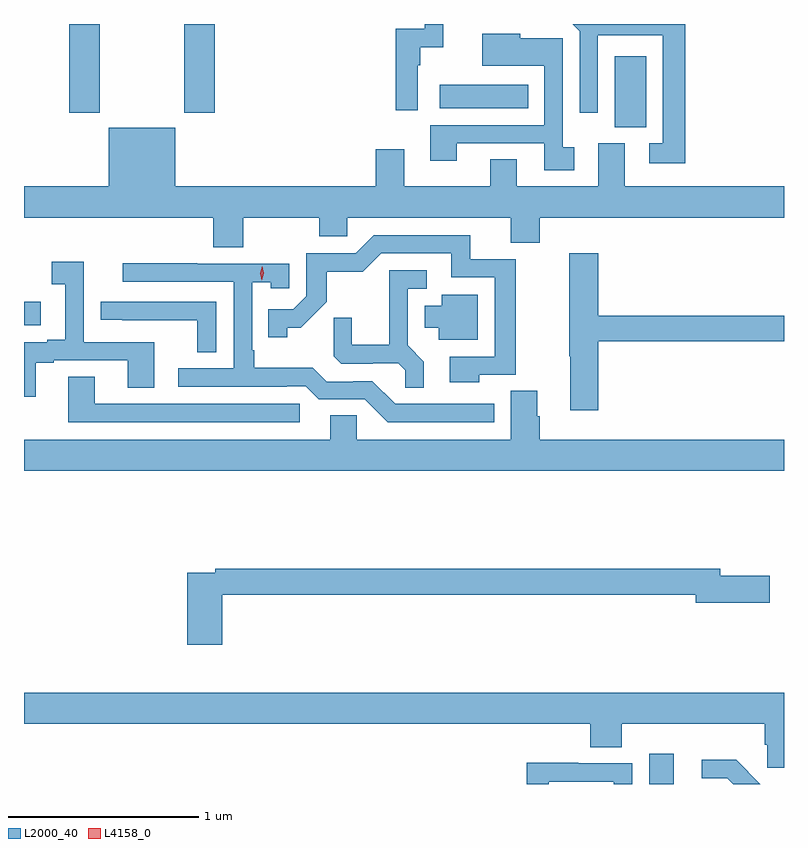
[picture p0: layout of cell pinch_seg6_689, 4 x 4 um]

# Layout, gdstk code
import gdstk
lib = gdstk.Library(unit=1e-6, precision=1e-09)
def R(c, l, rs):  # rectangles x0, y0, x1, y1
    for r in rs: c.add(gdstk.rectangle(r[:2], r[2:], *l))
def P(c, l, *ps):  # polygons
    for p in ps: c.add(gdstk.Polygon(p, *l))
L2000_40 = (2000, 40)
L4158_0 = (4158, 0)

pinch_seg6_689 = lib.new_cell('pinch_seg6_689')
R(pinch_seg6_689, L2000_40, [(437.049,941.691,437.179,941.851), (433.758,944.105,433.846,944.229), (436.868,945.148,437.032,945.52), (433.997,945.225,434.157,945.691), (434.602,945.225,434.762,945.691), (435.945,945.248,436.412,945.37)])
P(pinch_seg6_689, L2000_40, [(435.831,945.473),(435.844,945.473),(435.844,945.569),(435.965,945.569),(435.965,945.691),(435.867,945.691),(435.867,945.666),(435.715,945.666),(435.715,945.237),(435.831,945.237)],
  [(437.237,945.691),(436.646,945.691),(436.683,945.654),(436.683,945.225),(436.779,945.225),(436.779,945.633),(437.121,945.633),(437.121,945.063),(437.049,945.063),(437.049,944.958),(437.237,944.958)],
  [(436.654,945.042),(436.593,945.042),(436.593,945.615),(436.371,945.615),(436.371,945.64),(436.169,945.64),(436.169,945.47),(436.497,945.47),(436.497,945.159),(435.896,945.159),(435.896,944.97),(436.036,944.97),(436.036,945.063),(436.496,945.063),(436.496,944.922),(436.654,944.922)],
  [(434.913,944.672),(435.313,944.672),(435.313,944.574),(435.459,944.574),(435.459,944.672),(436.319,944.672),(436.319,944.539),(436.472,944.539),(436.472,944.672),(437.758,944.672),(437.758,944.836),(436.921,944.836),(436.921,945.063),(436.781,945.063),(436.781,944.836),(436.351,944.836),(436.351,944.978),(436.211,944.978),(436.211,944.836),(435.76,944.836),(435.76,945.031),(435.608,945.031),(435.608,944.836),(434.554,944.836),(434.554,945.145),(434.204,945.145),(434.204,944.836),(433.758,944.836),(433.758,944.672),(434.753,944.672),(434.753,944.515),(434.913,944.515)],
  [(436.155,943.845),(436.345,943.845),(436.345,944.454),(436.106,944.454),(436.106,944.58),(435.6,944.58),(435.504,944.484),(435.243,944.484),(435.243,944.259),(435.174,944.19),(435.043,944.19),(435.043,944.043),(435.144,944.043),(435.144,944.093),(435.214,944.093),(435.352,944.23),(435.352,944.386),(435.541,944.386),(435.639,944.484),(436.007,944.484),(436.007,944.358),(436.236,944.358),(436.236,943.941),(435.999,943.941),(435.999,943.805),(436.155,943.805)],
  [(436.781,944.02),(437.758,944.02),(437.758,944.156),(436.781,944.156),(436.781,944.485),(436.627,944.485),(436.627,943.943),(436.634,943.943),(436.634,943.659),(436.781,943.659)],
  [(433.819,943.908),(433.915,943.908),(433.915,943.92),(434.303,943.92),(434.303,943.777),(434.443,943.777),(434.443,944.016),(434.073,944.016),(434.073,944.44),(433.905,944.44),(433.905,944.32),(433.976,944.32),(433.976,944.029),(433.88,944.029),(433.88,944.016),(433.758,944.016),(433.758,943.728),(433.819,943.728)],
  [(436.234,943.692),(435.711,943.692),(435.591,943.812),(435.49,943.812),(435.49,943.809),(435.351,943.809),(435.278,943.882),(434.971,943.882),(434.971,943.975),(434.958,943.975),(434.958,944.333),(435.057,944.333),(435.057,944.301),(435.153,944.301),(435.153,944.43),(434.669,944.43),(434.669,944.433),(434.277,944.433),(434.277,944.334),(434.862,944.334),(434.862,943.878),(434.571,943.878),(434.571,943.782),(435.14,943.782),(435.14,943.785),(435.24,943.785),(435.309,943.716),(435.552,943.716),(435.672,943.596),(436.234,943.596)],
  [(435.863,943.913),(435.777,943.999),(435.777,944.298),(435.877,944.298),(435.877,944.394),(435.68,944.394),(435.68,944.002),(435.482,944.002),(435.482,944.145),(435.388,944.145),(435.388,943.943),(435.429,943.902),(435.594,943.902),(435.594,943.905),(435.728,943.905),(435.765,943.868),(435.765,943.777),(435.863,943.777)],
  [(436.147,944.266),(435.956,944.266),(435.956,944.209),(435.866,944.209),(435.866,944.093),(435.941,944.093),(435.941,944.03),(436.147,944.03)],
  [(434.769,944.229),(434.163,944.229),(434.163,944.134),(434.275,944.134),(434.275,944.133),(434.671,944.133),(434.671,943.963),(434.769,943.963)],
  [(435.208,943.692),(434.131,943.692),(434.131,943.835),(433.991,943.835),(433.991,943.596),(435.208,943.596)],
  [(437.758,943.504),(436.472,943.504),(436.472,943.626),(436.459,943.626),(436.459,943.76),(436.319,943.76),(436.319,943.504),(435.51,943.504),(435.51,943.631),(435.371,943.631),(435.371,943.504),(433.758,943.504),(433.758,943.34),(437.758,943.34)],
  [(434.801,942.688),(437.294,942.688),(437.294,942.646),(437.683,942.646),(437.683,942.788),(437.422,942.788),(437.422,942.824),(434.764,942.824),(434.764,942.804),(434.618,942.804),(434.618,942.423),(434.801,942.423)],
  [(437.758,942.172),(433.758,942.172),(433.758,942.008),(436.739,942.008),(436.739,941.884),(436.904,941.884),(436.904,942.008),(437.657,942.008),(437.657,941.898),(437.671,941.898),(437.671,941.776),(437.758,941.776)],
  [(437.506,941.819),(437.325,941.819),(437.325,941.721),(437.46,941.721),(437.49,941.691),(437.634,941.691)],
  [(436.521,941.703),(436.863,941.703),(436.863,941.691),(436.959,941.691),(436.959,941.799),(436.675,941.799),(436.675,941.803),(436.405,941.803),(436.405,941.691),(436.521,941.691)])
P(pinch_seg6_689, L4158_0, [(435.01,944.343),(435.01,944.343),(435.001,944.379),(435.011,944.415),(435.012,944.415),(435.012,944.415),(435.021,944.379),(435.01,944.343)])

lib.write_gds('pinch_seg6_689.gds')
